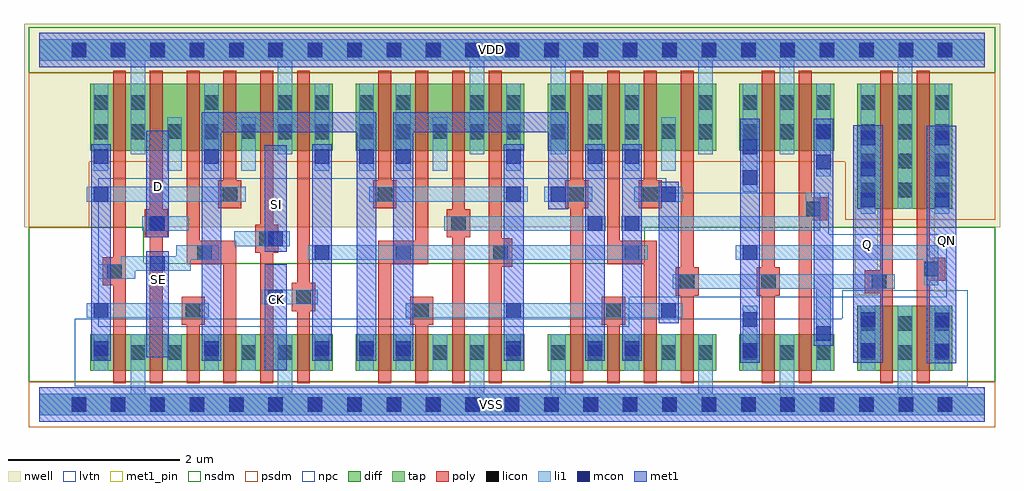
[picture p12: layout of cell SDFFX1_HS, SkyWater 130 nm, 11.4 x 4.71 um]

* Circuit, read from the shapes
.subckt SDFFX1_HS CK D Q QN SE SI VDD VSS
XM1 VSS SE n1 VSS sky130_fd_pr__nfet_01v8_lvt w=0.425 l=0.15
XM2 n2 D VSS VSS sky130_fd_pr__nfet_01v8_lvt w=0.425 l=0.15
XM3 n3 n1 n2 VSS sky130_fd_pr__nfet_01v8_lvt w=0.425 l=0.15
XM4 n4 SE n3 VSS sky130_fd_pr__nfet_01v8_lvt w=0.425 l=0.15
XM5 VSS SI n4 VSS sky130_fd_pr__nfet_01v8_lvt w=0.425 l=0.15
XM6 n5 CK VSS VSS sky130_fd_pr__nfet_01v8_lvt w=0.425 l=0.15
XM7 n6 n5 n3 VSS sky130_fd_pr__nfet_01v8_lvt w=0.425 l=0.15
XM8 n7 n8 n6 VSS sky130_fd_pr__nfet_01v8_lvt w=0.425 l=0.15
XM9 VSS n9 n7 VSS sky130_fd_pr__nfet_01v8_lvt w=0.425 l=0.15
XM10 n8 n5 VSS VSS sky130_fd_pr__nfet_01v8_lvt w=0.425 l=0.15
XM11 n9 n6 VSS VSS sky130_fd_pr__nfet_01v8_lvt w=0.425 l=0.15
XM12 n10 n8 n9 VSS sky130_fd_pr__nfet_01v8_lvt w=0.425 l=0.15
XM13 n11 n5 n10 VSS sky130_fd_pr__nfet_01v8_lvt w=0.425 l=0.15
XM14 VSS n12 n11 VSS sky130_fd_pr__nfet_01v8_lvt w=0.425 l=0.15
XM15 VSS n12 n13 VSS sky130_fd_pr__nfet_01v8_lvt w=0.425 l=0.15
XM16 n12 n10 VSS VSS sky130_fd_pr__nfet_01v8_lvt w=0.425 l=0.15
XM17 VSS n12 Q VSS sky130_fd_pr__nfet_01v8_lvt w=0.76 l=0.15
XM18 QN n13 VSS VSS sky130_fd_pr__nfet_01v8_lvt w=0.76 l=0.15
XM19 VDD SE n1 VDD sky130_fd_pr__pfet_01v8 w=0.78 l=0.15
XM20 n14 D VDD VDD sky130_fd_pr__pfet_01v8 w=0.78 l=0.15
XM21 n3 SE n14 VDD sky130_fd_pr__pfet_01v8 w=0.78 l=0.15
XM22 n15 n1 n3 VDD sky130_fd_pr__pfet_01v8 w=0.78 l=0.15
XM23 VDD SI n15 VDD sky130_fd_pr__pfet_01v8 w=0.78 l=0.15
XM24 n5 CK VDD VDD sky130_fd_pr__pfet_01v8 w=0.78 l=0.15
XM25 n6 n8 n3 VDD sky130_fd_pr__pfet_01v8 w=0.78 l=0.15
XM26 n16 n5 n6 VDD sky130_fd_pr__pfet_01v8 w=0.78 l=0.15
XM27 VDD n9 n16 VDD sky130_fd_pr__pfet_01v8 w=0.78 l=0.15
XM28 n8 n5 VDD VDD sky130_fd_pr__pfet_01v8 w=0.78 l=0.15
XM29 n9 n6 VDD VDD sky130_fd_pr__pfet_01v8 w=0.78 l=0.15
XM30 n10 n5 n9 VDD sky130_fd_pr__pfet_01v8 w=0.78 l=0.15
XM31 n17 n8 n10 VDD sky130_fd_pr__pfet_01v8 w=0.78 l=0.15
XM32 VDD n12 n17 VDD sky130_fd_pr__pfet_01v8 w=0.78 l=0.15
XM33 VDD n12 n13 VDD sky130_fd_pr__pfet_01v8 w=0.78 l=0.15
XM34 n12 n10 VDD VDD sky130_fd_pr__pfet_01v8 w=0.78 l=0.15
XM35 VDD n12 Q VDD sky130_fd_pr__pfet_01v8 w=1.46 l=0.15
XM36 QN n13 VDD VDD sky130_fd_pr__pfet_01v8 w=1.46 l=0.15
.ends

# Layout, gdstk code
from math import pi, radians
import gdstk
lib = gdstk.Library(unit=1e-6, precision=1e-09)
def R(c, l, rs):  # rectangles x0, y0, x1, y1
    for r in rs: c.add(gdstk.rectangle(r[:2], r[2:], *l))
def A(c, l, x, y, w, h, nx, ny, dx, dy):  # array of equal rectangles
    R(c, l, [(x+i*dx, y+j*dy, x+i*dx+w, y+j*dy+h) for i in range(nx) for j in range(ny)])
def P(c, l, *ps):  # polygons
    for p in ps: c.add(gdstk.Polygon(p, *l))
nwell = (64, 20)
diff = (65, 20)
tap = (65, 44)
poly = (66, 20)
licon = (66, 44)
li1 = (67, 20)
mcon = (67, 44)
met1_pin = (68, 16)
met1 = (68, 20)
nsdm = (93, 44)
psdm = (94, 20)
npc = (95, 20)
lvtn = (125, 44)

pyl1con_c_cdns_758729172 = lib.new_cell('PYL1CON_C_CDNS_758729172862')
R(pyl1con_c_cdns_758729172, poly, [(-0.135,-0.165,0.135,0.165)])
R(pyl1con_c_cdns_758729172, licon, [(-0.085,-0.085,0.085,0.085)])
R(pyl1con_c_cdns_758729172, npc, [(-0.185,-0.185,0.185,0.185)])

l1m1_c_cdns_758729172861 = lib.new_cell('L1M1_C_CDNS_7587291728613')
R(l1m1_c_cdns_758729172861, li1, [(-0.085,-0.525,0.085,0.525)])
A(l1m1_c_cdns_758729172861, mcon, -0.085, -0.445, 0.17, 0.17, 1, 3, 0, 0.36)
R(l1m1_c_cdns_758729172861, met1, [(-0.115,-0.505,0.115,0.505)])

c_l1m1_c_cdns_758729172861 = lib.new_cell('L1M1_C_CDNS_758729172861')
R(c_l1m1_c_cdns_758729172861, li1, [(-0.085,-0.165,0.085,0.165)])
R(c_l1m1_c_cdns_758729172861, mcon, [(-0.085,-0.085,0.085,0.085)])
R(c_l1m1_c_cdns_758729172861, met1, [(-0.115,-0.145,0.115,0.145)])

l1m1_c_cdns_758729172864 = lib.new_cell('L1M1_C_CDNS_758729172864')
R(l1m1_c_cdns_758729172864, li1, [(-0.085,-0.345,0.085,0.345)])
R(l1m1_c_cdns_758729172864, mcon, [(-0.085,-0.265,0.085,-0.095), (-0.085,0.095,0.085,0.265)])
R(l1m1_c_cdns_758729172864, met1, [(-0.115,-0.325,0.115,0.325)])

l1m1_c_cdns_758729172860 = lib.new_cell('L1M1_C_CDNS_758729172860')
R(l1m1_c_cdns_758729172860, li1, [(-0.165,-0.085,0.165,0.085)])
R(l1m1_c_cdns_758729172860, mcon, [(-0.085,-0.085,0.085,0.085)])
R(l1m1_c_cdns_758729172860, met1, [(-0.115,-0.145,0.115,0.145)])

licondiff_c_cdns_7587291 = lib.new_cell('LICONDIFF_C_CDNS_7587291728611')
R(licondiff_c_cdns_7587291, diff, [(-0.125,-0.145,0.125,0.145)])
R(licondiff_c_cdns_7587291, licon, [(-0.085,-0.085,0.085,0.085), (-0.085,-0.085,0.085,0.085)])

c_pyl1con_c_cdns_758729172 = lib.new_cell('PYL1CON_C_CDNS_7587291728618')
R(c_pyl1con_c_cdns_758729172, poly, [(-0.135,-0.29,0.135,0.29)])
R(c_pyl1con_c_cdns_758729172, licon, [(-0.085,-0.085,0.085,0.085)])
R(c_pyl1con_c_cdns_758729172, npc, [(-0.185,-0.185,0.185,0.185)])

l1m1_c_cdns_758729172862 = lib.new_cell('L1M1_C_CDNS_7587291728621')
R(l1m1_c_cdns_758729172862, li1, [(-0.125,-0.085,0.125,0.085)])
R(l1m1_c_cdns_758729172862, mcon, [(-0.085,-0.085,0.085,0.085)])
R(l1m1_c_cdns_758729172862, met1, [(-0.115,-0.145,0.115,0.145)])

c_pyl1con_c_cdns_758729172_ = lib.new_cell('PYL1CON_C_CDNS_7587291728622')
R(c_pyl1con_c_cdns_758729172_, poly, [(-0.135,-0.37,0.135,0.21)])
R(c_pyl1con_c_cdns_758729172_, licon, [(-0.085,-0.085,0.085,0.085)])
R(c_pyl1con_c_cdns_758729172_, npc, [(-0.185,-0.185,0.185,0.185)])

sdffx1_hs = lib.new_cell('SDFFX1_HS')
R(sdffx1_hs, nwell, [(-0.18,2.07,11.22,4.445)])
R(sdffx1_hs, diff, [(0.595,0.395,3.425,0.82), (3.695,0.395,5.665,0.82), (5.935,0.395,7.905,0.82), (8.175,0.395,9.285,0.82), (9.555,0.395,10.665,1.155), (9.555,2.285,10.665,3.745), (0.595,2.965,3.425,3.745), (3.695,2.965,5.665,3.745), (5.935,2.965,7.905,3.745), (8.175,2.965,9.285,3.745)])
R(sdffx1_hs, poly, [(0.86,0.245,1.01,3.895), (1.29,0.245,1.44,3.895), (1.72,0.245,1.87,0.97), (2.58,0.245,2.73,3.895), (3.01,0.245,3.16,3.895), (4.39,0.245,4.54,0.97), (4.82,0.245,4.97,3.895), (5.25,0.245,5.4,3.895), (6.2,0.245,6.35,3.895), (6.63,0.245,6.78,0.97), (7.49,0.245,7.64,3.895), (8.44,0.245,8.59,3.895), (8.87,0.245,9.02,3.895), (9.82,0.245,9.97,3.895), (10.25,0.245,10.4,3.895), (2.15,2.455,2.3,3.895), (3.96,2.455,4.11,3.895), (7.06,2.455,7.21,3.895)])
P(sdffx1_hs, poly, [(2.3,1.85),(1.87,1.85),(1.87,3.895),(1.72,3.895),(1.72,1.7),(2.15,1.7),(2.15,0.245),(2.3,0.245)],
  [(4.54,3.895),(4.39,3.895),(4.39,1.85),(3.96,1.85),(3.96,0.245),(4.11,0.245),(4.11,1.7),(4.54,1.7)],
  [(7.21,1.85),(6.78,1.85),(6.78,3.895),(6.63,3.895),(6.63,1.7),(7.06,1.7),(7.06,0.245),(7.21,0.245)])
A(sdffx1_hs, licon, 0.375, -0.085, 0.17, 0.17, 23, 2, 0.46, 4.14)
A(sdffx1_hs, licon, 1.065, 0.52, 0.17, 0.17, 3, 2, 0.86, 2.58)
A(sdffx1_hs, licon, 5.975, 0.52, 0.17, 0.17, 3, 2, 0.43, 2.58)
A(sdffx1_hs, licon, 8.215, 0.52, 0.17, 0.17, 3, 2, 0.43, 2.58)
A(sdffx1_hs, licon, 9.595, 0.52, 0.17, 0.17, 3, 2, 0.43, 0.34)
A(sdffx1_hs, licon, 9.595, 2.42, 0.17, 0.17, 3, 4, 0.43, 0.34)
A(sdffx1_hs, licon, 1.065, 3.44, 0.17, 0.17, 3, 1, 0.86, 0)
A(sdffx1_hs, licon, 5.975, 3.44, 0.17, 0.17, 3, 1, 0.43, 0)
A(sdffx1_hs, licon, 8.215, 3.44, 0.17, 0.17, 3, 1, 0.43, 0)
R(sdffx1_hs, licon, [(0.635,0.52,0.805,0.69), (3.215,0.52,3.385,0.69), (3.735,0.52,3.905,0.69), (4.165,0.52,4.335,0.69), (5.025,0.52,5.195,0.69), (5.455,0.52,5.625,0.69), (7.695,0.52,7.865,0.69), (0.635,3.1,0.805,3.27), (3.215,3.1,3.385,3.27), (3.735,3.1,3.905,3.27), (4.165,3.1,4.335,3.27), (5.025,3.1,5.195,3.27), (5.455,3.1,5.625,3.27), (7.695,3.1,7.865,3.27), (0.635,3.44,0.805,3.61), (3.215,3.44,3.385,3.61), (3.735,3.44,3.905,3.61), (4.165,3.44,4.335,3.61), (5.025,3.44,5.195,3.61), (5.455,3.44,5.625,3.61), (7.695,3.44,7.865,3.61)])
A(sdffx1_hs, li1, 0.635, 0.395, 0.17, 0.425, 3, 1, 1.29, 0)
A(sdffx1_hs, li1, 0.635, 2.965, 0.17, 0.78, 3, 1, 1.29, 0)
R(sdffx1_hs, li1, [(3.735,0.395,3.905,0.82), (4.165,0.395,4.335,0.82), (5.455,0.395,5.625,0.82), (6.405,0.395,6.575,0.82), (6.835,0.395,7.005,0.82), (8.215,0.395,8.385,0.82), (9.595,0.395,9.765,1.155), (10.455,0.395,10.625,1.155), (9.595,2.285,9.765,3.745), (10.455,2.285,10.625,3.745), (3.735,2.965,3.905,3.745), (4.165,2.965,4.335,3.745), (5.455,2.965,5.625,3.745), (6.405,2.965,6.575,3.745), (6.835,2.965,7.005,3.745), (8.215,2.965,8.385,3.745), (9.075,2.965,9.245,3.745)])
P(sdffx1_hs, li1, [(9.99,1.52),(7.4,1.52),(7.4,1.35),(9.075,1.35),(9.075,0.395),(9.245,0.395),(9.245,1.35),(9.99,1.35)],
  [(11.04,4.265),(0,4.265),(0,4.015),(1.065,4.015),(1.065,2.925),(1.235,2.925),(1.235,4.015),(2.785,4.015),(2.785,2.925),(2.955,2.925),(2.955,4.015),(5.025,4.015),(5.025,2.925),(5.195,2.925),(5.195,4.015),(5.975,4.015),(5.975,2.925),(6.145,2.925),(6.145,4.015),(7.695,4.015),(7.695,2.925),(7.865,2.925),(7.865,4.015),(8.645,4.015),(8.645,2.925),(8.815,2.925),(8.815,4.015),(10.025,4.015),(10.025,2.285),(10.195,2.285),(10.195,4.015),(11.04,4.015)],
  [(11.04,0.125),(10.195,0.125),(10.195,1.155),(10.025,1.155),(10.025,0.125),(8.815,0.125),(8.815,0.82),(8.645,0.82),(8.645,0.125),(7.865,0.125),(7.865,0.82),(7.695,0.82),(7.695,0.125),(6.145,0.125),(6.145,0.82),(5.975,0.82),(5.975,0.125),(5.195,0.125),(5.195,0.82),(5.025,0.82),(5.025,0.125),(2.955,0.125),(2.955,0.82),(2.785,0.82),(2.785,0.125),(1.235,0.125),(1.235,0.82),(1.065,0.82),(1.065,0.125),(0,0.125),(0,-0.125),(11.04,-0.125)])
A(sdffx1_hs, mcon, 0.375, -0.085, 0.17, 0.17, 23, 2, 0.46, 4.14)
R(sdffx1_hs, met1_pin, [(2.63,0.4,2.89,1.64), (1.25,0.55,1.51,1.79), (9.53,1.275,9.79,2.515), (10.45,1.32,10.71,2.56), (2.63,1.785,2.89,3.025), (1.25,1.955,1.51,3.195)])
R(sdffx1_hs, met1, [(10.365,0.48,10.71,3.255), (9.505,0.485,9.85,3.26)])
R(sdffx1_hs, nsdm, [(-0.125,3.875,11.165,4.405)])
P(sdffx1_hs, nsdm, [(11.165,2.07),(7.065,2.07),(7.065,1.65),(1.22,1.65),(1.22,2.07),(-0.125,2.07),(-0.125,0.265),(11.165,0.265)])
R(sdffx1_hs, psdm, [(-0.125,-0.265,11.165,0.265)])
P(sdffx1_hs, psdm, [(11.165,3.875),(-0.125,3.875),(-0.125,2.07),(0.585,2.07),(0.585,2.835),(9.415,2.835),(9.415,2.155),(11.165,2.155)])
P(sdffx1_hs, npc, [(10.6,1.985),(9.22,1.985),(9.22,2.47),(7.32,2.47),(7.32,2.64),(0.69,2.64),(0.69,0.91),(6.89,0.91),(6.89,1.25),(10.6,1.25)])
P(sdffx1_hs, lvtn, [(10.845,1.335),(9.375,1.335),(9.375,1),(0.415,1),(0.415,0.215),(10.845,0.215)])
sdffx1_hs.add(gdstk.FlexPath([(9.035,2.47),(9.035,2.115),(6.795,2.115)], 0.17, ends="flush", simple_path=True, layer=67, datatype=20))  # li1
sdffx1_hs.add(gdstk.FlexPath([(5.895,2.455),(6.46,2.455)], 0.17, ends="flush", simple_path=True, layer=67, datatype=20))  # li1
sdffx1_hs.add(gdstk.FlexPath([(3.85,2.455),(5.705,2.455)], 0.17, ends="flush", simple_path=True, layer=67, datatype=20))  # li1
sdffx1_hs.add(gdstk.FlexPath([(6.615,2.115),(4.73,2.115)], 0.17, ends="flush", simple_path=True, layer=67, datatype=20))  # li1
sdffx1_hs.add(gdstk.FlexPath([(0.555,1.095),(1.98,1.095)], 0.17, ends="flush", simple_path=True, layer=67, datatype=20))  # li1
sdffx1_hs.add(gdstk.FlexPath([(4.68,2.73),(4.68,3.355)], 0.17, ends="flush", simple_path=True, layer=67, datatype=20))  # li1
sdffx1_hs.add(gdstk.FlexPath([(4.68,0.395),(4.68,0.82)], 0.17, ends="flush", simple_path=True, layer=67, datatype=20))  # li1
sdffx1_hs.add(gdstk.FlexPath([(2.82,1.935),(2.275,1.935)], 0.17, ends="flush", simple_path=True, layer=67, datatype=20))  # li1
sdffx1_hs.add(gdstk.FlexPath([(3.25,1.255),(2.705,1.255)], 0.17, ends="flush", simple_path=True, layer=67, datatype=20))  # li1
sdffx1_hs.add(gdstk.FlexPath([(3.135,1.775),(7.105,1.775)], 0.17, ends="flush", simple_path=True, layer=67, datatype=20))  # li1
sdffx1_hs.add(gdstk.FlexPath([(0.69,1.555),(1.035,1.555),(1.035,1.645),(1.685,1.645),(1.685,1.775),(2.095,1.775)], 0.17, ends="flush", simple_path=True, layer=67, datatype=20))  # li1
sdffx1_hs.add(gdstk.FlexPath([(7.35,0.395),(7.35,0.82)], 0.17, ends="flush", simple_path=True, layer=67, datatype=20))  # li1
sdffx1_hs.add(gdstk.FlexPath([(7.35,2.73),(7.35,3.355)], 0.17, ends="flush", simple_path=True, layer=67, datatype=20))  # li1
sdffx1_hs.add(gdstk.FlexPath([(6.95,2.455),(7.515,2.455)], 0.17, ends="flush", simple_path=True, layer=67, datatype=20))  # li1
sdffx1_hs.add(gdstk.FlexPath([(0.555,2.455),(2.41,2.455)], 0.17, ends="flush", simple_path=True, layer=67, datatype=20))  # li1
sdffx1_hs.add(gdstk.FlexPath([(1.58,2.73),(1.58,3.355)], 0.17, ends="flush", simple_path=True, layer=67, datatype=20))  # li1
sdffx1_hs.add(gdstk.FlexPath([(2.44,2.73),(2.44,3.355)], 0.17, ends="flush", simple_path=True, layer=67, datatype=20))  # li1
sdffx1_hs.add(gdstk.FlexPath([(4.28,1.095),(7.515,1.095)], 0.17, ends="flush", simple_path=True, layer=67, datatype=20))  # li1
sdffx1_hs.add(gdstk.FlexPath([(10.415,1.395),(10.415,1.775),(8.3,1.775)], 0.17, ends="flush", simple_path=True, layer=67, datatype=20))  # li1
sdffx1_hs.add(gdstk.FlexPath([(1.58,0.395),(1.58,0.82)], 0.17, ends="flush", simple_path=True, layer=67, datatype=20))  # li1
sdffx1_hs.add(gdstk.FlexPath([(2.44,0.395),(2.44,0.82)], 0.17, ends="flush", simple_path=True, layer=67, datatype=20))  # li1
sdffx1_hs.add(gdstk.FlexPath([(1.745,2.115),(1.2,2.115)], 0.17, ends="flush", simple_path=True, layer=67, datatype=20))  # li1
sdffx1_hs.add(gdstk.FlexPath([(0,4.14),(11.04,4.14)], 0.4, ends="flush", simple_path=True, layer=68, datatype=20))  # met1
sdffx1_hs.add(gdstk.FlexPath([(0,0),(11.04,0)], 0.4, ends="flush", simple_path=True, layer=68, datatype=20))  # met1
sdffx1_hs.add(gdstk.FlexPath([(7.35,0.95),(7.35,2.6)], 0.23, ends="flush", simple_path=True, layer=68, datatype=20))  # met1
sdffx1_hs.add(gdstk.FlexPath([(2.01,0.51),(2.01,3.295),(3.82,3.295),(3.82,0.51)], 0.23, ends="flush", simple_path=True, layer=68, datatype=20))  # met1
sdffx1_hs.add(gdstk.FlexPath([(6.06,2.28),(6.06,3.295),(4.25,3.295),(4.25,0.51)], 0.23, ends="flush", simple_path=True, layer=68, datatype=20))  # met1
sdffx1_hs.add(gdstk.FlexPath([(0.72,0.51),(0.72,3.04)], 0.23, ends="flush", simple_path=True, layer=68, datatype=20))  # met1
sdffx1_hs.add(gdstk.FlexPath([(5.54,0.51),(5.54,3.04)], 0.23, ends="flush", simple_path=True, layer=68, datatype=20))  # met1
sdffx1_hs.add(gdstk.FlexPath([(3.3,0.51),(3.3,3.04)], 0.23, ends="flush", simple_path=True, layer=68, datatype=20))  # met1
sdffx1_hs.add(gdstk.FlexPath([(2.76,0.4),(2.76,1.64)], 0.26, ends="flush", simple_path=True, layer=68, datatype=20))  # met1
sdffx1_hs.add(gdstk.FlexPath([(2.76,1.785),(2.76,3.025)], 0.26, ends="flush", simple_path=True, layer=68, datatype=20))  # met1
sdffx1_hs.add(gdstk.FlexPath([(6.92,0.51),(6.92,3.04)], 0.23, ends="flush", simple_path=True, layer=68, datatype=20))  # met1
sdffx1_hs.add(gdstk.FlexPath([(8.3,0.485),(8.3,3.335)], 0.23, ends="flush", simple_path=True, layer=68, datatype=20))  # met1
sdffx1_hs.add(gdstk.FlexPath([(9.16,0.685),(9.16,3.335)], 0.23, ends="flush", simple_path=True, layer=68, datatype=20))  # met1
sdffx1_hs.add(gdstk.FlexPath([(1.38,1.955),(1.38,3.195)], 0.26, ends="flush", simple_path=True, layer=68, datatype=20))  # met1
sdffx1_hs.add(gdstk.FlexPath([(1.38,0.55),(1.38,1.79)], 0.26, ends="flush", simple_path=True, layer=68, datatype=20))  # met1
sdffx1_hs.add(gdstk.FlexPath([(6.49,0.51),(6.49,3.04)], 0.23, ends="flush", simple_path=True, layer=68, datatype=20))  # met1
sdffx1_hs.add(gdstk.FlexPath([(0,0),(11.04,0)], 0.4, ends="flush", simple_path=True, layer=68, datatype=16))  # met1_pin
sdffx1_hs.add(gdstk.FlexPath([(0,4.14),(11.04,4.14)], 0.4, ends="flush", simple_path=True, layer=68, datatype=16))  # met1_pin
sdffx1_hs.add(gdstk.FlexPath([(0,4.14),(11.04,4.14)], 0.25, ends="flush", simple_path=True, layer=65, datatype=44))  # tap
sdffx1_hs.add(gdstk.FlexPath([(0,0),(11.04,0)], 0.25, ends="flush", simple_path=True, layer=65, datatype=44))  # tap
sdffx1_hs.add(gdstk.Reference(pyl1con_c_cdns_758729172, (6.275,2.455), rotation=pi))
sdffx1_hs.add(gdstk.Reference(pyl1con_c_cdns_758729172, (8.515,1.435), rotation=pi, x_reflection=True))
sdffx1_hs.add(gdstk.Reference(pyl1con_c_cdns_758729172, (7.565,1.435), rotation=pi, x_reflection=True))
sdffx1_hs.add(gdstk.Reference(pyl1con_c_cdns_758729172, (5.385,1.775), rotation=pi))
sdffx1_hs.add(gdstk.Reference(pyl1con_c_cdns_758729172, (3.085,1.255), x_reflection=True))
sdffx1_hs.add(gdstk.Reference(pyl1con_c_cdns_758729172, (2.655,1.935), x_reflection=True))
sdffx1_hs.add(gdstk.Reference(pyl1con_c_cdns_758729172, (2.225,2.455), rotation=pi))
sdffx1_hs.add(gdstk.Reference(pyl1con_c_cdns_758729172, (1.795,1.095), x_reflection=True))
sdffx1_hs.add(gdstk.Reference(pyl1con_c_cdns_758729172, (4.465,1.095), rotation=pi))
sdffx1_hs.add(gdstk.Reference(pyl1con_c_cdns_758729172, (4.035,2.455), x_reflection=True))
sdffx1_hs.add(gdstk.Reference(pyl1con_c_cdns_758729172, (7.135,2.455), rotation=pi))
sdffx1_hs.add(gdstk.Reference(pyl1con_c_cdns_758729172, (6.705,1.095), x_reflection=True))
sdffx1_hs.add(gdstk.Reference(pyl1con_c_cdns_758729172, (10.415,1.58), rotation=3*pi/2, x_reflection=True))
sdffx1_hs.add(gdstk.Reference(pyl1con_c_cdns_758729172, (0.875,1.555)))
sdffx1_hs.add(gdstk.Reference(pyl1con_c_cdns_758729172, (4.895,2.115)))
sdffx1_hs.add(gdstk.Reference(pyl1con_c_cdns_758729172, (9.035,2.285), rotation=pi/2, x_reflection=True))
sdffx1_hs.add(gdstk.Reference(pyl1con_c_cdns_758729172, (1.365,2.115)))
sdffx1_hs.add(gdstk.Reference(pyl1con_c_cdns_758729172, (9.805,1.435), rotation=3*pi/2, x_reflection=True))
sdffx1_hs.add(gdstk.Reference(l1m1_c_cdns_758729172861, (10.54,2.75)))
sdffx1_hs.add(gdstk.Reference(l1m1_c_cdns_758729172861, (9.68,2.75)))
sdffx1_hs.add(gdstk.Reference(c_l1m1_c_cdns_758729172861, (3.82,2.895)))
sdffx1_hs.add(gdstk.Reference(c_l1m1_c_cdns_758729172861, (3.82,0.655)))
sdffx1_hs.add(gdstk.Reference(c_l1m1_c_cdns_758729172861, (2.01,2.895)))
sdffx1_hs.add(gdstk.Reference(c_l1m1_c_cdns_758729172861, (2.01,0.655)))
sdffx1_hs.add(gdstk.Reference(c_l1m1_c_cdns_758729172861, (0.72,2.895)))
sdffx1_hs.add(gdstk.Reference(c_l1m1_c_cdns_758729172861, (0.72,0.655)))
sdffx1_hs.add(gdstk.Reference(c_l1m1_c_cdns_758729172861, (5.54,0.655), rotation=pi, x_reflection=True))
sdffx1_hs.add(gdstk.Reference(c_l1m1_c_cdns_758729172861, (5.54,2.895), rotation=pi, x_reflection=True))
sdffx1_hs.add(gdstk.Reference(c_l1m1_c_cdns_758729172861, (3.3,0.655)))
sdffx1_hs.add(gdstk.Reference(c_l1m1_c_cdns_758729172861, (3.3,2.895)))
sdffx1_hs.add(gdstk.Reference(c_l1m1_c_cdns_758729172861, (4.25,2.895)))
sdffx1_hs.add(gdstk.Reference(c_l1m1_c_cdns_758729172861, (4.25,0.655)))
sdffx1_hs.add(gdstk.Reference(c_l1m1_c_cdns_758729172861, (6.49,0.655)))
sdffx1_hs.add(gdstk.Reference(c_l1m1_c_cdns_758729172861, (6.49,2.895)))
sdffx1_hs.add(gdstk.Reference(c_l1m1_c_cdns_758729172861, (6.92,0.655), rotation=pi, x_reflection=True))
sdffx1_hs.add(gdstk.Reference(c_l1m1_c_cdns_758729172861, (6.92,2.895), rotation=pi, x_reflection=True))
sdffx1_hs.add(gdstk.Reference(c_l1m1_c_cdns_758729172861, (9.16,0.83), rotation=pi, x_reflection=True))
sdffx1_hs.add(gdstk.Reference(l1m1_c_cdns_758729172864, (9.16,3.01), rotation=pi, x_reflection=True))
sdffx1_hs.add(gdstk.Reference(l1m1_c_cdns_758729172864, (10.54,0.805)))
sdffx1_hs.add(gdstk.Reference(l1m1_c_cdns_758729172864, (9.68,0.81)))
sdffx1_hs.add(gdstk.Reference(l1m1_c_cdns_758729172864, (8.3,2.83)))
sdffx1_hs.add(gdstk.Reference(l1m1_c_cdns_758729172864, (8.3,0.81)))
sdffx1_hs.add(gdstk.Reference(l1m1_c_cdns_758729172860, (6.06,2.455)))
sdffx1_hs.add(gdstk.Reference(l1m1_c_cdns_758729172860, (7.35,2.455)))
sdffx1_hs.add(gdstk.Reference(l1m1_c_cdns_758729172860, (7.35,1.095)))
sdffx1_hs.add(gdstk.Reference(l1m1_c_cdns_758729172860, (2.76,1.255), x_reflection=True))
sdffx1_hs.add(gdstk.Reference(l1m1_c_cdns_758729172860, (2.76,1.935), x_reflection=True))
sdffx1_hs.add(gdstk.Reference(l1m1_c_cdns_758729172860, (3.3,1.775)))
sdffx1_hs.add(gdstk.Reference(l1m1_c_cdns_758729172860, (5.54,2.455), rotation=pi, x_reflection=True))
sdffx1_hs.add(gdstk.Reference(l1m1_c_cdns_758729172860, (5.54,1.095), rotation=pi, x_reflection=True))
sdffx1_hs.add(gdstk.Reference(l1m1_c_cdns_758729172860, (1.38,1.645), x_reflection=True))
sdffx1_hs.add(gdstk.Reference(l1m1_c_cdns_758729172860, (1.38,2.115), x_reflection=True))
sdffx1_hs.add(gdstk.Reference(l1m1_c_cdns_758729172860, (8.3,1.775)))
sdffx1_hs.add(gdstk.Reference(l1m1_c_cdns_758729172860, (0.72,1.095)))
sdffx1_hs.add(gdstk.Reference(l1m1_c_cdns_758729172860, (0.72,2.455)))
sdffx1_hs.add(gdstk.Reference(licondiff_c_cdns_7587291, (4.68,3.19)))
sdffx1_hs.add(gdstk.Reference(licondiff_c_cdns_7587291, (4.68,0.605)))
sdffx1_hs.add(gdstk.Reference(licondiff_c_cdns_7587291, (7.35,3.19)))
sdffx1_hs.add(gdstk.Reference(licondiff_c_cdns_7587291, (7.35,0.605)))
sdffx1_hs.add(gdstk.Reference(licondiff_c_cdns_7587291, (2.44,0.605)))
sdffx1_hs.add(gdstk.Reference(licondiff_c_cdns_7587291, (1.58,0.605)))
sdffx1_hs.add(gdstk.Reference(licondiff_c_cdns_7587291, (2.44,3.19)))
sdffx1_hs.add(gdstk.Reference(licondiff_c_cdns_7587291, (1.58,3.19)))
sdffx1_hs.add(gdstk.Reference(c_pyl1con_c_cdns_758729172, (4.25,1.775), rotation=pi/2, x_reflection=True))
sdffx1_hs.add(gdstk.Reference(c_pyl1con_c_cdns_758729172, (6.92,1.775), rotation=pi/2))
sdffx1_hs.add(gdstk.Reference(l1m1_c_cdns_758729172862, (6.49,2.115), rotation=pi, x_reflection=True))
sdffx1_hs.add(gdstk.Reference(l1m1_c_cdns_758729172862, (6.92,2.115), rotation=pi, x_reflection=True))
sdffx1_hs.add(gdstk.Reference(c_pyl1con_c_cdns_758729172_, (1.93,1.775), rotation=pi/2))
sdffx1_hs.add(gdstk.Label('Q', (9.675,1.87), layer=68, texttype=5))
sdffx1_hs.add(gdstk.Label('SE', (1.395,1.455), layer=68, texttype=5))
sdffx1_hs.add(gdstk.Label('D', (1.395,2.55), layer=68, texttype=5))
sdffx1_hs.add(gdstk.Label('CK', (2.775,1.23), layer=68, texttype=5))
sdffx1_hs.add(gdstk.Label('SI', (2.775,2.34), layer=68, texttype=5))
sdffx1_hs.add(gdstk.Label('QN', (10.595,1.915), layer=68, texttype=5))
sdffx1_hs.add(gdstk.Label('VSS', (5.285,0.005), layer=68, texttype=5))
sdffx1_hs.add(gdstk.Label('VDD', (5.285,4.145), layer=68, texttype=5))

lib.write_gds('SDFFX1_HS.gds')
